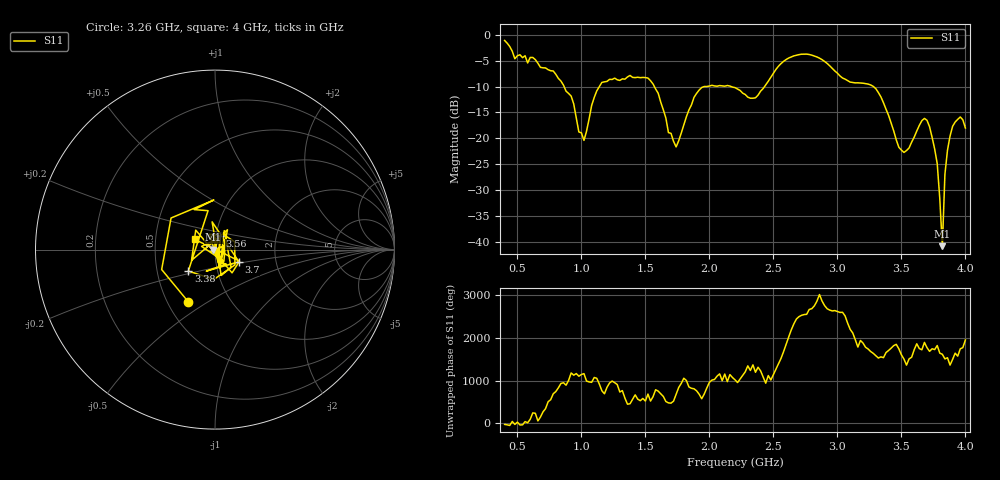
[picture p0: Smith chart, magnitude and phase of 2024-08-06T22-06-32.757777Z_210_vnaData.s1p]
!Created with skrf (http://scikit-rf.org).
# Hz S RI R 50.0
!freq ReS11 ImS11
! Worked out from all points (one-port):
!   181 points, 400 MHz to 4 GHz, reference 50 ohm
!   lowest |S11| = -40.8 dB at 3.82 GHz (marker M1), VSWR 1.02, Z = 49.1 + j0.0285 ohm
!   |S11| at or under -10 dB: 864.6 MHz to 1.141 GHz (276.3 MHz wide, 27.6 % of centre); 1.57 GHz to 1.981 GHz (410.6 MHz wide, 23.1 % of centre); 3.281 GHz to end of sweep (the widest 3 of 4)
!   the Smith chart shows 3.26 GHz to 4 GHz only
!   S11 on the Smith chart (normalised r, x): 3.26 GHz: 0.64, -0.42; 3.38 GHz: 0.72, -0.18; 3.56 GHz: 1.04, +0.16; 3.7 GHz: 1.29, -0.18; 4 GHz: 0.79, +0.09
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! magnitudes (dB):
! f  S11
! 400 MHz  -1.1
! 480 MHz  -4.6
! 620 MHz  -4.4
! 860 MHz  -9.7
! 920 MHz  -11.9
! 1.02 GHz  -20.4
! 1.12 GHz  -10.8
! 1.3 GHz  -8.8
! 1.54 GHz  -8.9
! 1.68 GHz  -18.9
! 1.76 GHz  -20.5
! 1.94 GHz  -10.2
! 2.2 GHz  -10.2
! 2.36 GHz  -12.2
! 2.66 GHz  -4.1
! 2.84 GHz  -4.3
! 3.1 GHz  -9.1
! 3.26 GHz  -9.7
! 3.38 GHz  -14.4
! 3.48 GHz  -21.7
! 3.56 GHz  -21.9
! 3.7 GHz  -16.5
! 3.78 GHz  -24.9
! 3.82 GHz  -40.8
! 3.84 GHz  -27.0
! 3.88 GHz  -19.6
! 3.96 GHz  -15.9
! 4 GHz  -18.0
